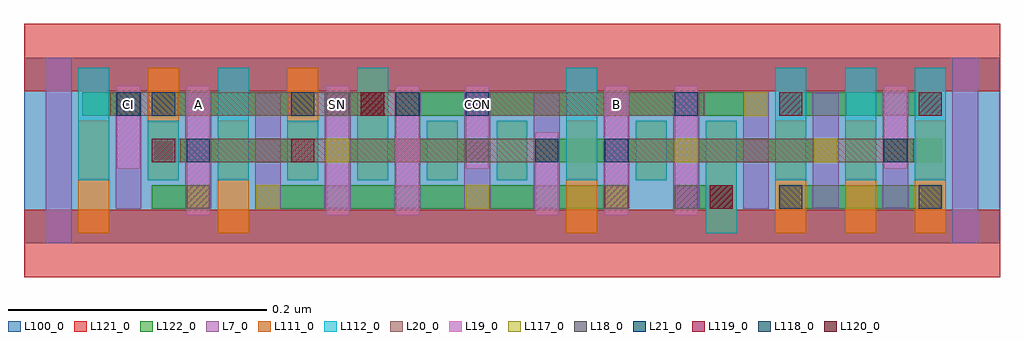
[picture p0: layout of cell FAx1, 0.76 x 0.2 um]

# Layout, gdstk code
import gdstk
lib = gdstk.Library(unit=1e-6, precision=2.5e-10)
def R(c, l, rs):  # rectangles x0, y0, x1, y1
    for r in rs: c.add(gdstk.rectangle(r[:2], r[2:], *l))
def A(c, l, x, y, w, h, nx, ny, dx, dy):  # array of equal rectangles
    R(c, l, [(x+i*dx, y+j*dy, x+i*dx+w, y+j*dy+h) for i in range(nx) for j in range(ny)])
L7_0 = (7, 0)
L18_0 = (18, 0)
L19_0 = (19, 0)
L20_0 = (20, 0)
L21_0 = (21, 0)
L100_0 = (100, 0)
L111_0 = (111, 0)
L112_0 = (112, 0)
L117_0 = (117, 0)
L118_0 = (118, 0)
L119_0 = (119, 0)
L120_0 = (120, 0)
L121_0 = (121, 0)
L122_0 = (122, 0)

fax1 = lib.new_cell('FAx1')
A(fax1, L7_0, 0.071, 0.027, 0.02, 0.09, 12, 1, 0.054, 0)
R(fax1, L7_0, [(0.017,0,0.037,0.144), (0.719,0,0.739,0.144)])
R(fax1, L18_0, [(0.126,0.027,0.144,0.045), (0.45,0.027,0.468,0.045), (0.504,0.027,0.522,0.045), (0.342,0.063,0.36,0.081), (0.396,0.063,0.414,0.081), (0.666,0.063,0.684,0.081), (0.072,0.099,0.09,0.117), (0.234,0.099,0.252,0.117), (0.288,0.099,0.306,0.117)])
R(fax1, L19_0, [(0.126,0.022,0.144,0.122), (0.234,0.022,0.252,0.122), (0.288,0.022,0.306,0.122), (0.396,0.022,0.414,0.086), (0.45,0.022,0.468,0.122), (0.504,0.022,0.522,0.122), (0.072,0.058,0.09,0.122), (0.342,0.058,0.36,0.122), (0.666,0.058,0.684,0.122)])
R(fax1, L20_0, [(0.121,0.063,0.414,0.081), (0.45,0.063,0.689,0.081), (0.067,0.099,0.306,0.117), (0.342,0.099,0.527,0.117)])
R(fax1, L21_0, [(0.126,0.063,0.144,0.081), (0.396,0.063,0.414,0.081), (0.45,0.063,0.468,0.081), (0.666,0.063,0.684,0.081), (0.072,0.099,0.09,0.117), (0.288,0.099,0.306,0.117), (0.342,0.099,0.36,0.117), (0.504,0.099,0.522,0.117)])
R(fax1, L100_0, [(0,0,0.756,0.144)])
A(fax1, L111_0, 0.528, 0.008, 0.024, 0.087, 4, 1, 0.054, 0)
R(fax1, L111_0, [(0.042,0.008,0.066,0.095), (0.15,0.008,0.174,0.095), (0.42,0.008,0.444,0.095), (0.096,0.049,0.12,0.136), (0.204,0.049,0.228,0.136), (0.258,0.049,0.282,0.136), (0.312,0.049,0.336,0.095), (0.366,0.049,0.39,0.095), (0.474,0.049,0.498,0.095)])
A(fax1, L112_0, 0.042, 0.049, 0.024, 0.087, 3, 1, 0.108, 0)
A(fax1, L112_0, 0.096, 0.049, 0.024, 0.046, 3, 1, 0.108, 0)
A(fax1, L112_0, 0.582, 0.049, 0.024, 0.087, 3, 1, 0.054, 0)
R(fax1, L112_0, [(0.528,0.008,0.552,0.095), (0.366,0.049,0.39,0.095), (0.42,0.049,0.444,0.136), (0.474,0.049,0.498,0.095)])
A(fax1, L117_0, 0.396, 0.063, 0.018, 0.018, 3, 1, 0.108, 0)
R(fax1, L117_0, [(0.126,0.027,0.144,0.045), (0.18,0.027,0.198,0.045), (0.342,0.027,0.36,0.045), (0.45,0.027,0.468,0.045), (0.234,0.063,0.252,0.081), (0.666,0.063,0.684,0.081), (0.072,0.099,0.09,0.117), (0.288,0.099,0.306,0.117), (0.558,0.099,0.576,0.117)])
R(fax1, L118_0, [(0.585,0.027,0.603,0.045), (0.693,0.027,0.711,0.045), (0.099,0.099,0.117,0.117), (0.207,0.099,0.225,0.117)])
R(fax1, L119_0, [(0.531,0.027,0.549,0.045), (0.099,0.063,0.117,0.081), (0.207,0.063,0.225,0.081), (0.261,0.099,0.279,0.117), (0.585,0.099,0.603,0.117), (0.693,0.099,0.711,0.117)])
R(fax1, L120_0, [(0.531,0.027,0.549,0.045), (0.261,0.099,0.279,0.117)])
R(fax1, L121_0, [(0,-0.026,0.756,0.026), (0,0.118,0.756,0.17)])
R(fax1, L122_0, [(0.099,0.027,0.144,0.045), (0.18,0.027,0.468,0.045), (0.504,0.027,0.549,0.045), (0.585,0.027,0.711,0.045), (0.099,0.063,0.225,0.081), (0.234,0.063,0.36,0.081), (0.396,0.063,0.63,0.081), (0.666,0.063,0.711,0.081), (0.045,0.099,0.09,0.117), (0.099,0.099,0.225,0.117), (0.234,0.099,0.279,0.117), (0.288,0.099,0.576,0.117), (0.585,0.099,0.711,0.117)])
fax1.add(gdstk.Label('SN', (0.243,0.108), layer=19, texttype=251))
fax1.add(gdstk.Label('CON', (0.351,0.108), layer=19, texttype=251))
fax1.add(gdstk.Label('CI', (0.081,0.108), layer=19, texttype=251))
fax1.add(gdstk.Label('B', (0.459,0.108), layer=19, texttype=251))
fax1.add(gdstk.Label('A', (0.135,0.108), layer=19, texttype=251))

lib.write_gds('FAx1.gds')
